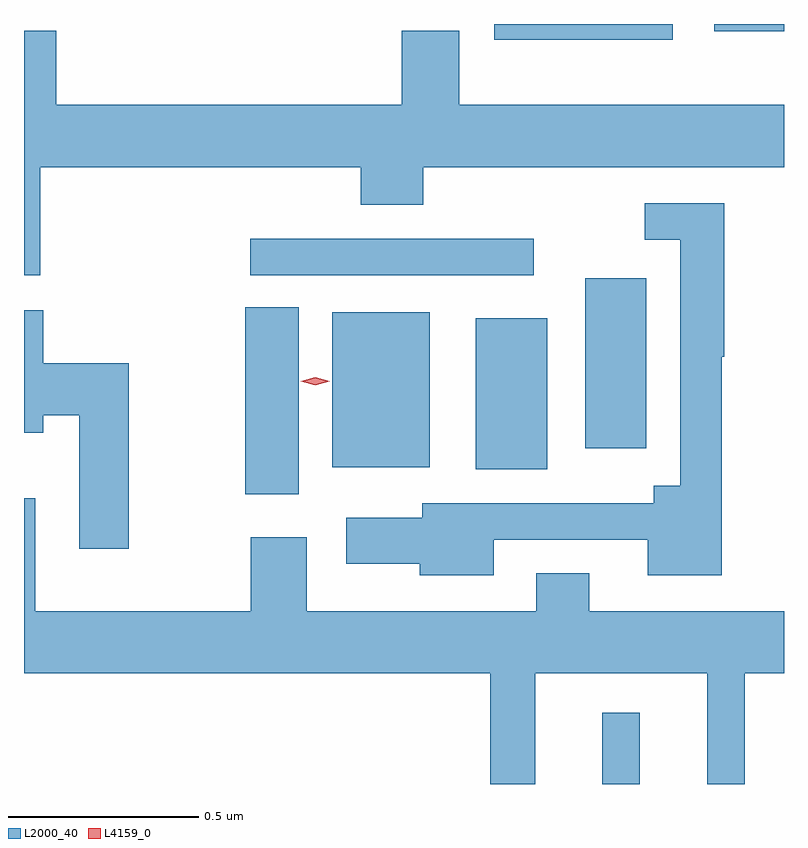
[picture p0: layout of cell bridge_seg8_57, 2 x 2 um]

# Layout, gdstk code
import gdstk
lib = gdstk.Library(unit=1e-6, precision=1e-09)
def R(c, l, rs):  # rectangles x0, y0, x1, y1
    for r in rs: c.add(gdstk.rectangle(r[:2], r[2:], *l))
def P(c, l, *ps):  # polygons
    for p in ps: c.add(gdstk.Polygon(p, *l))
L2000_40 = (2000, 40)
L4159_0 = (4159, 0)

bridge_seg8_57 = lib.new_cell('bridge_seg8_57')
R(bridge_seg8_57, L2000_40, [(1073.387,1108.217,1073.486,1108.405), (1072.447,1108.98,1072.588,1109.471), (1073.054,1109.045,1073.242,1109.443), (1072.676,1109.051,1072.933,1109.458), (1073.342,1109.1,1073.503,1109.548), (1072.461,1109.556,1073.206,1109.652), (1073.102,1110.176,1073.572,1110.217), (1073.681,1110.198,1073.865,1110.217)])
P(bridge_seg8_57, L2000_40, [(1071.908,1109.84),(1072.751,1109.84),(1072.751,1109.741),(1072.916,1109.741),(1072.916,1109.84),(1073.865,1109.84),(1073.865,1110.004),(1073.011,1110.004),(1073.011,1110.199),(1072.859,1110.199),(1072.859,1110.004),(1071.95,1110.004),(1071.95,1110.199),(1071.865,1110.199),(1071.865,1109.556),(1071.908,1109.556)],
  [(1073.101,1108.86),(1073.507,1108.86),(1073.507,1108.766),(1073.701,1108.766),(1073.701,1109.342),(1073.708,1109.342),(1073.708,1109.745),(1073.499,1109.745),(1073.499,1109.649),(1073.592,1109.649),(1073.592,1109.002),(1073.522,1109.002),(1073.522,1108.956),(1072.913,1108.956),(1072.913,1108.918),(1072.713,1108.918),(1072.713,1108.796),(1072.906,1108.796),(1072.906,1108.766),(1073.101,1108.766)],
  [(1072.14,1109.324),(1071.916,1109.324),(1071.916,1109.464),(1071.865,1109.464),(1071.865,1109.141),(1071.916,1109.141),(1071.916,1109.188),(1072.01,1109.188),(1072.01,1108.836),(1072.14,1108.836)],
  [(1073.21,1108.508),(1073.663,1108.508),(1073.663,1108.217),(1073.762,1108.217),(1073.762,1108.508),(1073.865,1108.508),(1073.865,1108.672),(1073.353,1108.672),(1073.353,1108.771),(1073.213,1108.771),(1073.213,1108.672),(1072.609,1108.672),(1072.609,1108.867),(1072.462,1108.867),(1072.462,1108.672),(1071.895,1108.672),(1071.895,1108.969),(1071.865,1108.969),(1071.865,1108.508),(1073.092,1108.508),(1073.092,1108.217),(1073.21,1108.217)])
P(bridge_seg8_57, L4159_0, [(1072.631,1109.267),(1072.593,1109.277),(1072.592,1109.277),(1072.593,1109.277),(1072.631,1109.287),(1072.669,1109.277),(1072.669,1109.277),(1072.669,1109.277)])

lib.write_gds('bridge_seg8_57.gds')
